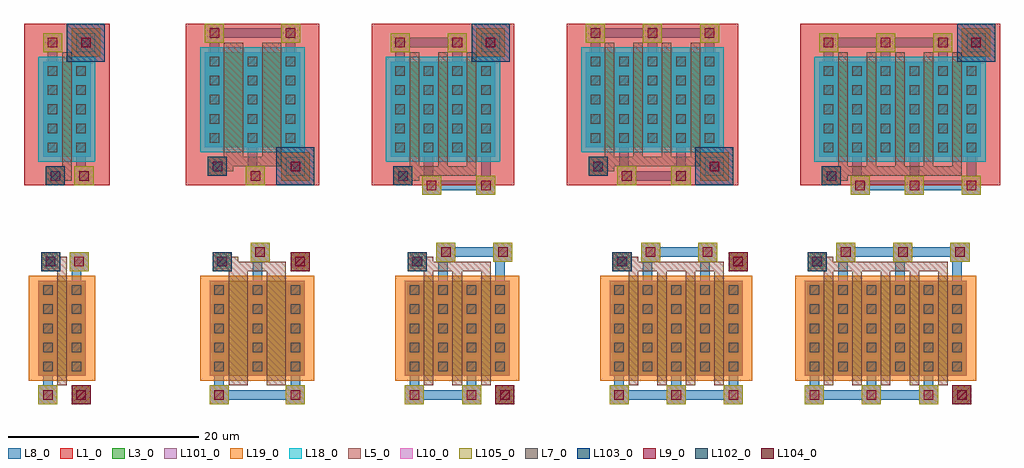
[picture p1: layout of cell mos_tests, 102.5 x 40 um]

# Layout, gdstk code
import gdstk
lib = gdstk.Library(unit=1e-6, precision=1e-09)
def R(c, l, rs):  # rectangles x0, y0, x1, y1
    for r in rs: c.add(gdstk.rectangle(r[:2], r[2:], *l))
L1_0 = (1, 0)
L3_0 = (3, 0)
L5_0 = (5, 0)
L7_0 = (7, 0)
L8_0 = (8, 0)
L9_0 = (9, 0)
L10_0 = (10, 0)
L18_0 = (18, 0)
L19_0 = (19, 0)
L101_0 = (101, 0)
L102_0 = (102, 0)
L103_0 = (103, 0)
L104_0 = (104, 0)
L105_0 = (105, 0)

dcont = lib.new_cell('dcont')
R(dcont, L3_0, [(-0.5,-0.5,0.5,0.5)])
R(dcont, L7_0, [(-0.5,-0.5,0.5,0.5)])
R(dcont, L8_0, [(-1,-1,1,1)])
R(dcont, L101_0, [(-1,-1,1,1)])
dcont.add(gdstk.Label('dcont', (0,0), layer=13, texttype=0))

pcont = lib.new_cell('pcont')
R(pcont, L5_0, [(-1,-1,1,1)])
R(pcont, L7_0, [(-0.5,-0.5,0.5,0.5)])
R(pcont, L8_0, [(-1,-1,1,1)])
R(pcont, L102_0, [(-1,-1,1,1)])
pcont.add(gdstk.Label('pcont', (0,0), layer=13, texttype=0))

via = lib.new_cell('Via')
R(via, L8_0, [(-1,-1,1,1)])
R(via, L9_0, [(-0.5,-0.5,0.5,0.5)])
R(via, L10_0, [(-1,-1,1,1)])
R(via, L105_0, [(-1,-1,1,1)])
via.add(gdstk.Label('via', (0,0), layer=13, texttype=0))

nsubcont = lib.new_cell('nsubcont')
R(nsubcont, L1_0, [(-2,-2,2,2)])
R(nsubcont, L19_0, [(-1.5,-1.5,1.5,1.5)])
R(nsubcont, L103_0, [(-2,-2,2,2)])
nsubcont.add(gdstk.Reference(dcont, (0,0)))
nsubcont.add(gdstk.Label('NScont', (0,0), layer=13, texttype=0))

pch = lib.new_cell('Pch')
R(pch, L1_0, [(-2,0,19,17)])
R(pch, L3_0, [(0,3,17,13)])
R(pch, L18_0, [(-0.5,2.5,17.5,13.5)])
pch.add(gdstk.FlexPath([(1,3),(1,13)], 2, ends="flush", simple_path=True, layer=8, datatype=0))  # L8_0
pch.add(gdstk.FlexPath([(4,3),(4,13)], 2, ends="flush", simple_path=True, layer=8, datatype=0))  # L8_0
pch.add(gdstk.FlexPath([(7,3),(7,13)], 2, ends="flush", simple_path=True, layer=8, datatype=0))  # L8_0
pch.add(gdstk.FlexPath([(10,3),(10,13)], 2, ends="flush", simple_path=True, layer=8, datatype=0))  # L8_0
pch.add(gdstk.FlexPath([(13,3),(13,13)], 2, ends="flush", simple_path=True, layer=8, datatype=0))  # L8_0
pch.add(gdstk.FlexPath([(16,3),(16,13)], 2, ends="flush", simple_path=True, layer=8, datatype=0))  # L8_0
pch.add(gdstk.FlexPath([(1,13),(1,15)], 1, ends="flush", simple_path=True, layer=8, datatype=0))  # L8_0
pch.add(gdstk.FlexPath([(4,0),(4,3)], 1, ends="flush", simple_path=True, layer=8, datatype=0))  # L8_0
pch.add(gdstk.FlexPath([(7,13),(7,15)], 1, ends="flush", simple_path=True, layer=8, datatype=0))  # L8_0
pch.add(gdstk.FlexPath([(1,15),(7,15)], 1, ends="flush", simple_path=True, layer=8, datatype=0))  # L8_0
pch.add(gdstk.FlexPath([(10,0),(10,3)], 1, ends="flush", simple_path=True, layer=8, datatype=0))  # L8_0
pch.add(gdstk.FlexPath([(4,0),(10,0)], 1, ends="flush", simple_path=True, layer=8, datatype=0))  # L8_0
pch.add(gdstk.FlexPath([(13,13),(13,15)], 1, ends="flush", simple_path=True, layer=8, datatype=0))  # L8_0
pch.add(gdstk.FlexPath([(7,15),(13,15)], 1, ends="flush", simple_path=True, layer=8, datatype=0))  # L8_0
pch.add(gdstk.FlexPath([(16,0),(16,3)], 1, ends="flush", simple_path=True, layer=8, datatype=0))  # L8_0
pch.add(gdstk.FlexPath([(10,0),(16,0)], 1, ends="flush", simple_path=True, layer=8, datatype=0))  # L8_0
pch.add(gdstk.FlexPath([(2.5,3),(2.5,13)], 1, ends=(1, 1), simple_path=True, layer=5, datatype=0))  # L5_0
pch.add(gdstk.FlexPath([(5.5,3),(5.5,13)], 1, ends=(1, 1), simple_path=True, layer=5, datatype=0))  # L5_0
pch.add(gdstk.FlexPath([(8.5,3),(8.5,13)], 1, ends=(1, 1), simple_path=True, layer=5, datatype=0))  # L5_0
pch.add(gdstk.FlexPath([(11.5,3),(11.5,13)], 1, ends=(1, 1), simple_path=True, layer=5, datatype=0))  # L5_0
pch.add(gdstk.FlexPath([(14.5,3),(14.5,13)], 1, ends=(1, 1), simple_path=True, layer=5, datatype=0))  # L5_0
pch.add(gdstk.FlexPath([(1,1),(2.5,1),(2.5,2)], 1, ends="flush", simple_path=True, layer=5, datatype=0))  # L5_0
pch.add(gdstk.FlexPath([(2,1.5),(6,1.5)], 1, ends="flush", simple_path=True, layer=5, datatype=0))  # L5_0
pch.add(gdstk.FlexPath([(5,1.5),(9,1.5)], 1, ends="flush", simple_path=True, layer=5, datatype=0))  # L5_0
pch.add(gdstk.FlexPath([(8,1.5),(12,1.5)], 1, ends="flush", simple_path=True, layer=5, datatype=0))  # L5_0
pch.add(gdstk.FlexPath([(11,1.5),(15,1.5)], 1, ends="flush", simple_path=True, layer=5, datatype=0))  # L5_0
pch.add(gdstk.Reference(dcont, (1,4)))
pch.add(gdstk.Reference(dcont, (1,6)))
pch.add(gdstk.Reference(dcont, (1,8)))
pch.add(gdstk.Reference(dcont, (1,10)))
pch.add(gdstk.Reference(dcont, (1,12)))
pch.add(gdstk.Reference(dcont, (4,4)))
pch.add(gdstk.Reference(dcont, (4,6)))
pch.add(gdstk.Reference(dcont, (4,8)))
pch.add(gdstk.Reference(dcont, (4,10)))
pch.add(gdstk.Reference(dcont, (4,12)))
pch.add(gdstk.Reference(dcont, (7,4)))
pch.add(gdstk.Reference(dcont, (7,6)))
pch.add(gdstk.Reference(dcont, (7,8)))
pch.add(gdstk.Reference(dcont, (7,10)))
pch.add(gdstk.Reference(dcont, (7,12)))
pch.add(gdstk.Reference(dcont, (10,4)))
pch.add(gdstk.Reference(dcont, (10,6)))
pch.add(gdstk.Reference(dcont, (10,8)))
pch.add(gdstk.Reference(dcont, (10,10)))
pch.add(gdstk.Reference(dcont, (10,12)))
pch.add(gdstk.Reference(dcont, (13,4)))
pch.add(gdstk.Reference(dcont, (13,6)))
pch.add(gdstk.Reference(dcont, (13,8)))
pch.add(gdstk.Reference(dcont, (13,10)))
pch.add(gdstk.Reference(dcont, (13,12)))
pch.add(gdstk.Reference(dcont, (16,4)))
pch.add(gdstk.Reference(dcont, (16,6)))
pch.add(gdstk.Reference(dcont, (16,8)))
pch.add(gdstk.Reference(dcont, (16,10)))
pch.add(gdstk.Reference(dcont, (16,12)))
pch.add(gdstk.Reference(pcont, (1.3,1)))
pch.add(gdstk.Reference(via, (1.3,1)))
pch.add(gdstk.Reference(via, (1,15)))
pch.add(gdstk.Reference(via, (4.3,0)))
pch.add(gdstk.Reference(via, (7,15)))
pch.add(gdstk.Reference(via, (10,0)))
pch.add(gdstk.Reference(via, (13,15)))
pch.add(gdstk.Reference(via, (16,0)))
pch.add(gdstk.Reference(nsubcont, (16.5,15)))
pch.add(gdstk.Reference(via, (16.5,15)))

psubcont = lib.new_cell('psubcont')
R(psubcont, L104_0, [(-1,-1,1,1)])
psubcont.add(gdstk.Reference(dcont, (0,0)))
psubcont.add(gdstk.Label('PScon', (0,0), layer=13, texttype=0))

nch_3 = lib.new_cell('Nch$3')
R(nch_3, L3_0, [(0,3,17,13)])
R(nch_3, L19_0, [(-1,2.5,18,13.5)])
nch_3.add(gdstk.FlexPath([(1,3),(1,13)], 2, ends="flush", simple_path=True, layer=8, datatype=0))  # L8_0
nch_3.add(gdstk.FlexPath([(4,3),(4,13)], 2, ends="flush", simple_path=True, layer=8, datatype=0))  # L8_0
nch_3.add(gdstk.FlexPath([(7,3),(7,13)], 2, ends="flush", simple_path=True, layer=8, datatype=0))  # L8_0
nch_3.add(gdstk.FlexPath([(10,3),(10,13)], 2, ends="flush", simple_path=True, layer=8, datatype=0))  # L8_0
nch_3.add(gdstk.FlexPath([(13,3),(13,13)], 2, ends="flush", simple_path=True, layer=8, datatype=0))  # L8_0
nch_3.add(gdstk.FlexPath([(16,3),(16,13)], 2, ends="flush", simple_path=True, layer=8, datatype=0))  # L8_0
nch_3.add(gdstk.FlexPath([(1,1),(1,4)], 1, ends="flush", simple_path=True, layer=8, datatype=0))  # L8_0
nch_3.add(gdstk.FlexPath([(4,13),(4,16)], 1, ends="flush", simple_path=True, layer=8, datatype=0))  # L8_0
nch_3.add(gdstk.FlexPath([(7,1),(7,4)], 1, ends="flush", simple_path=True, layer=8, datatype=0))  # L8_0
nch_3.add(gdstk.FlexPath([(1,1),(7,1)], 1, ends="flush", simple_path=True, layer=8, datatype=0))  # L8_0
nch_3.add(gdstk.FlexPath([(10,13),(10,16)], 1, ends="flush", simple_path=True, layer=8, datatype=0))  # L8_0
nch_3.add(gdstk.FlexPath([(4,16),(10,16)], 1, ends="flush", simple_path=True, layer=8, datatype=0))  # L8_0
nch_3.add(gdstk.FlexPath([(13,1),(13,4)], 1, ends="flush", simple_path=True, layer=8, datatype=0))  # L8_0
nch_3.add(gdstk.FlexPath([(7,1),(13,1)], 1, ends="flush", simple_path=True, layer=8, datatype=0))  # L8_0
nch_3.add(gdstk.FlexPath([(16,13),(16,16)], 1, ends="flush", simple_path=True, layer=8, datatype=0))  # L8_0
nch_3.add(gdstk.FlexPath([(10,16),(16,16)], 1, ends="flush", simple_path=True, layer=8, datatype=0))  # L8_0
nch_3.add(gdstk.FlexPath([(2.5,3),(2.5,13)], 1, ends=(1, 1), simple_path=True, layer=5, datatype=0))  # L5_0
nch_3.add(gdstk.FlexPath([(5.5,3),(5.5,13)], 1, ends=(1, 1), simple_path=True, layer=5, datatype=0))  # L5_0
nch_3.add(gdstk.FlexPath([(8.5,3),(8.5,13)], 1, ends=(1, 1), simple_path=True, layer=5, datatype=0))  # L5_0
nch_3.add(gdstk.FlexPath([(11.5,3),(11.5,13)], 1, ends=(1, 1), simple_path=True, layer=5, datatype=0))  # L5_0
nch_3.add(gdstk.FlexPath([(14.5,3),(14.5,13)], 1, ends=(1, 1), simple_path=True, layer=5, datatype=0))  # L5_0
nch_3.add(gdstk.FlexPath([(1,15),(2.5,15),(2.5,14)], 1, ends="flush", simple_path=True, layer=5, datatype=0))  # L5_0
nch_3.add(gdstk.FlexPath([(2,14.5),(6,14.5)], 1, ends="flush", simple_path=True, layer=5, datatype=0))  # L5_0
nch_3.add(gdstk.FlexPath([(5,14.5),(9,14.5)], 1, ends="flush", simple_path=True, layer=5, datatype=0))  # L5_0
nch_3.add(gdstk.FlexPath([(8,14.5),(12,14.5)], 1, ends="flush", simple_path=True, layer=5, datatype=0))  # L5_0
nch_3.add(gdstk.FlexPath([(11,14.5),(15,14.5)], 1, ends="flush", simple_path=True, layer=5, datatype=0))  # L5_0
nch_3.add(gdstk.Reference(dcont, (1,4)))
nch_3.add(gdstk.Reference(dcont, (1,6)))
nch_3.add(gdstk.Reference(dcont, (1,8)))
nch_3.add(gdstk.Reference(dcont, (1,10)))
nch_3.add(gdstk.Reference(dcont, (1,12)))
nch_3.add(gdstk.Reference(dcont, (4,4)))
nch_3.add(gdstk.Reference(dcont, (4,6)))
nch_3.add(gdstk.Reference(dcont, (4,8)))
nch_3.add(gdstk.Reference(dcont, (4,10)))
nch_3.add(gdstk.Reference(dcont, (4,12)))
nch_3.add(gdstk.Reference(dcont, (7,4)))
nch_3.add(gdstk.Reference(dcont, (7,6)))
nch_3.add(gdstk.Reference(dcont, (7,8)))
nch_3.add(gdstk.Reference(dcont, (7,10)))
nch_3.add(gdstk.Reference(dcont, (7,12)))
nch_3.add(gdstk.Reference(dcont, (10,4)))
nch_3.add(gdstk.Reference(dcont, (10,6)))
nch_3.add(gdstk.Reference(dcont, (10,8)))
nch_3.add(gdstk.Reference(dcont, (10,10)))
nch_3.add(gdstk.Reference(dcont, (10,12)))
nch_3.add(gdstk.Reference(dcont, (13,4)))
nch_3.add(gdstk.Reference(dcont, (13,6)))
nch_3.add(gdstk.Reference(dcont, (13,8)))
nch_3.add(gdstk.Reference(dcont, (13,10)))
nch_3.add(gdstk.Reference(dcont, (13,12)))
nch_3.add(gdstk.Reference(dcont, (16,4)))
nch_3.add(gdstk.Reference(dcont, (16,6)))
nch_3.add(gdstk.Reference(dcont, (16,8)))
nch_3.add(gdstk.Reference(dcont, (16,10)))
nch_3.add(gdstk.Reference(dcont, (16,12)))
nch_3.add(gdstk.Reference(pcont, (1.3,15)))
nch_3.add(gdstk.Reference(via, (1.3,15)))
nch_3.add(gdstk.Reference(via, (1,1)))
nch_3.add(gdstk.Reference(via, (4.3,16)))
nch_3.add(gdstk.Reference(via, (7,1)))
nch_3.add(gdstk.Reference(via, (10.3,16)))
nch_3.add(gdstk.Reference(via, (13,1)))
nch_3.add(gdstk.Reference(via, (16.3,16)))
nch_3.add(gdstk.Reference(psubcont, (16.5,1)))
nch_3.add(gdstk.Reference(via, (16.5,1)))

nch_4 = lib.new_cell('Nch$4')
R(nch_4, L3_0, [(0,3,14,13)])
R(nch_4, L19_0, [(-1,2.5,15,13.5)])
nch_4.add(gdstk.FlexPath([(1,3),(1,13)], 2, ends="flush", simple_path=True, layer=8, datatype=0))  # L8_0
nch_4.add(gdstk.FlexPath([(4,3),(4,13)], 2, ends="flush", simple_path=True, layer=8, datatype=0))  # L8_0
nch_4.add(gdstk.FlexPath([(7,3),(7,13)], 2, ends="flush", simple_path=True, layer=8, datatype=0))  # L8_0
nch_4.add(gdstk.FlexPath([(10,3),(10,13)], 2, ends="flush", simple_path=True, layer=8, datatype=0))  # L8_0
nch_4.add(gdstk.FlexPath([(13,3),(13,13)], 2, ends="flush", simple_path=True, layer=8, datatype=0))  # L8_0
nch_4.add(gdstk.FlexPath([(1,1),(1,4)], 1, ends="flush", simple_path=True, layer=8, datatype=0))  # L8_0
nch_4.add(gdstk.FlexPath([(4,13),(4,16)], 1, ends="flush", simple_path=True, layer=8, datatype=0))  # L8_0
nch_4.add(gdstk.FlexPath([(7,1),(7,4)], 1, ends="flush", simple_path=True, layer=8, datatype=0))  # L8_0
nch_4.add(gdstk.FlexPath([(1,1),(7,1)], 1, ends="flush", simple_path=True, layer=8, datatype=0))  # L8_0
nch_4.add(gdstk.FlexPath([(10,13),(10,16)], 1, ends="flush", simple_path=True, layer=8, datatype=0))  # L8_0
nch_4.add(gdstk.FlexPath([(4,16),(10,16)], 1, ends="flush", simple_path=True, layer=8, datatype=0))  # L8_0
nch_4.add(gdstk.FlexPath([(13,1),(13,4)], 1, ends="flush", simple_path=True, layer=8, datatype=0))  # L8_0
nch_4.add(gdstk.FlexPath([(7,1),(13,1)], 1, ends="flush", simple_path=True, layer=8, datatype=0))  # L8_0
nch_4.add(gdstk.FlexPath([(2.5,3),(2.5,13)], 1, ends=(1, 1), simple_path=True, layer=5, datatype=0))  # L5_0
nch_4.add(gdstk.FlexPath([(5.5,3),(5.5,13)], 1, ends=(1, 1), simple_path=True, layer=5, datatype=0))  # L5_0
nch_4.add(gdstk.FlexPath([(8.5,3),(8.5,13)], 1, ends=(1, 1), simple_path=True, layer=5, datatype=0))  # L5_0
nch_4.add(gdstk.FlexPath([(11.5,3),(11.5,13)], 1, ends=(1, 1), simple_path=True, layer=5, datatype=0))  # L5_0
nch_4.add(gdstk.FlexPath([(1,15),(2.5,15),(2.5,14)], 1, ends="flush", simple_path=True, layer=5, datatype=0))  # L5_0
nch_4.add(gdstk.FlexPath([(2,14.5),(6,14.5)], 1, ends="flush", simple_path=True, layer=5, datatype=0))  # L5_0
nch_4.add(gdstk.FlexPath([(5,14.5),(9,14.5)], 1, ends="flush", simple_path=True, layer=5, datatype=0))  # L5_0
nch_4.add(gdstk.FlexPath([(8,14.5),(12,14.5)], 1, ends="flush", simple_path=True, layer=5, datatype=0))  # L5_0
nch_4.add(gdstk.Reference(dcont, (1,4)))
nch_4.add(gdstk.Reference(dcont, (1,6)))
nch_4.add(gdstk.Reference(dcont, (1,8)))
nch_4.add(gdstk.Reference(dcont, (1,10)))
nch_4.add(gdstk.Reference(dcont, (1,12)))
nch_4.add(gdstk.Reference(dcont, (4,4)))
nch_4.add(gdstk.Reference(dcont, (4,6)))
nch_4.add(gdstk.Reference(dcont, (4,8)))
nch_4.add(gdstk.Reference(dcont, (4,10)))
nch_4.add(gdstk.Reference(dcont, (4,12)))
nch_4.add(gdstk.Reference(dcont, (7,4)))
nch_4.add(gdstk.Reference(dcont, (7,6)))
nch_4.add(gdstk.Reference(dcont, (7,8)))
nch_4.add(gdstk.Reference(dcont, (7,10)))
nch_4.add(gdstk.Reference(dcont, (7,12)))
nch_4.add(gdstk.Reference(dcont, (10,4)))
nch_4.add(gdstk.Reference(dcont, (10,6)))
nch_4.add(gdstk.Reference(dcont, (10,8)))
nch_4.add(gdstk.Reference(dcont, (10,10)))
nch_4.add(gdstk.Reference(dcont, (10,12)))
nch_4.add(gdstk.Reference(dcont, (13,4)))
nch_4.add(gdstk.Reference(dcont, (13,6)))
nch_4.add(gdstk.Reference(dcont, (13,8)))
nch_4.add(gdstk.Reference(dcont, (13,10)))
nch_4.add(gdstk.Reference(dcont, (13,12)))
nch_4.add(gdstk.Reference(pcont, (1.3,15)))
nch_4.add(gdstk.Reference(via, (1.3,15)))
nch_4.add(gdstk.Reference(via, (1,1)))
nch_4.add(gdstk.Reference(via, (4.3,16)))
nch_4.add(gdstk.Reference(via, (7,1)))
nch_4.add(gdstk.Reference(via, (10.3,16)))
nch_4.add(gdstk.Reference(via, (13,1)))
nch_4.add(gdstk.Reference(psubcont, (13.5,15)))
nch_4.add(gdstk.Reference(via, (13.5,15)))

nch_5 = lib.new_cell('Nch$5')
R(nch_5, L3_0, [(0,3,11,13)])
R(nch_5, L19_0, [(-1,2.5,12,13.5)])
nch_5.add(gdstk.FlexPath([(1,3),(1,13)], 2, ends="flush", simple_path=True, layer=8, datatype=0))  # L8_0
nch_5.add(gdstk.FlexPath([(4,3),(4,13)], 2, ends="flush", simple_path=True, layer=8, datatype=0))  # L8_0
nch_5.add(gdstk.FlexPath([(7,3),(7,13)], 2, ends="flush", simple_path=True, layer=8, datatype=0))  # L8_0
nch_5.add(gdstk.FlexPath([(10,3),(10,13)], 2, ends="flush", simple_path=True, layer=8, datatype=0))  # L8_0
nch_5.add(gdstk.FlexPath([(1,1),(1,4)], 1, ends="flush", simple_path=True, layer=8, datatype=0))  # L8_0
nch_5.add(gdstk.FlexPath([(4,13),(4,16)], 1, ends="flush", simple_path=True, layer=8, datatype=0))  # L8_0
nch_5.add(gdstk.FlexPath([(7,1),(7,4)], 1, ends="flush", simple_path=True, layer=8, datatype=0))  # L8_0
nch_5.add(gdstk.FlexPath([(1,1),(7,1)], 1, ends="flush", simple_path=True, layer=8, datatype=0))  # L8_0
nch_5.add(gdstk.FlexPath([(10,13),(10,16)], 1, ends="flush", simple_path=True, layer=8, datatype=0))  # L8_0
nch_5.add(gdstk.FlexPath([(4,16),(10,16)], 1, ends="flush", simple_path=True, layer=8, datatype=0))  # L8_0
nch_5.add(gdstk.FlexPath([(2.5,3),(2.5,13)], 1, ends=(1, 1), simple_path=True, layer=5, datatype=0))  # L5_0
nch_5.add(gdstk.FlexPath([(5.5,3),(5.5,13)], 1, ends=(1, 1), simple_path=True, layer=5, datatype=0))  # L5_0
nch_5.add(gdstk.FlexPath([(8.5,3),(8.5,13)], 1, ends=(1, 1), simple_path=True, layer=5, datatype=0))  # L5_0
nch_5.add(gdstk.FlexPath([(1,15),(2.5,15),(2.5,14)], 1, ends="flush", simple_path=True, layer=5, datatype=0))  # L5_0
nch_5.add(gdstk.FlexPath([(2,14.5),(6,14.5)], 1, ends="flush", simple_path=True, layer=5, datatype=0))  # L5_0
nch_5.add(gdstk.FlexPath([(5,14.5),(9,14.5)], 1, ends="flush", simple_path=True, layer=5, datatype=0))  # L5_0
nch_5.add(gdstk.Reference(dcont, (1,4)))
nch_5.add(gdstk.Reference(dcont, (1,6)))
nch_5.add(gdstk.Reference(dcont, (1,8)))
nch_5.add(gdstk.Reference(dcont, (1,10)))
nch_5.add(gdstk.Reference(dcont, (1,12)))
nch_5.add(gdstk.Reference(dcont, (4,4)))
nch_5.add(gdstk.Reference(dcont, (4,6)))
nch_5.add(gdstk.Reference(dcont, (4,8)))
nch_5.add(gdstk.Reference(dcont, (4,10)))
nch_5.add(gdstk.Reference(dcont, (4,12)))
nch_5.add(gdstk.Reference(dcont, (7,4)))
nch_5.add(gdstk.Reference(dcont, (7,6)))
nch_5.add(gdstk.Reference(dcont, (7,8)))
nch_5.add(gdstk.Reference(dcont, (7,10)))
nch_5.add(gdstk.Reference(dcont, (7,12)))
nch_5.add(gdstk.Reference(dcont, (10,4)))
nch_5.add(gdstk.Reference(dcont, (10,6)))
nch_5.add(gdstk.Reference(dcont, (10,8)))
nch_5.add(gdstk.Reference(dcont, (10,10)))
nch_5.add(gdstk.Reference(dcont, (10,12)))
nch_5.add(gdstk.Reference(pcont, (1.3,15)))
nch_5.add(gdstk.Reference(via, (1.3,15)))
nch_5.add(gdstk.Reference(via, (1,1)))
nch_5.add(gdstk.Reference(via, (4.3,16)))
nch_5.add(gdstk.Reference(via, (7,1)))
nch_5.add(gdstk.Reference(via, (10.3,16)))
nch_5.add(gdstk.Reference(psubcont, (10.5,1)))
nch_5.add(gdstk.Reference(via, (10.5,1)))

nch_6 = lib.new_cell('Nch$6')
R(nch_6, L3_0, [(0,3,10,13)])
R(nch_6, L19_0, [(-1,2.5,11,13.5)])
nch_6.add(gdstk.FlexPath([(1,3),(1,13)], 2, ends="flush", simple_path=True, layer=8, datatype=0))  # L8_0
nch_6.add(gdstk.FlexPath([(5,3),(5,13)], 2, ends="flush", simple_path=True, layer=8, datatype=0))  # L8_0
nch_6.add(gdstk.FlexPath([(9,3),(9,13)], 2, ends="flush", simple_path=True, layer=8, datatype=0))  # L8_0
nch_6.add(gdstk.FlexPath([(1,1),(1,4)], 1, ends="flush", simple_path=True, layer=8, datatype=0))  # L8_0
nch_6.add(gdstk.FlexPath([(5,13),(5,16)], 1, ends="flush", simple_path=True, layer=8, datatype=0))  # L8_0
nch_6.add(gdstk.FlexPath([(9,1),(9,4)], 1, ends="flush", simple_path=True, layer=8, datatype=0))  # L8_0
nch_6.add(gdstk.FlexPath([(1,1),(9,1)], 1, ends="flush", simple_path=True, layer=8, datatype=0))  # L8_0
nch_6.add(gdstk.FlexPath([(3,3),(3,13)], 2, ends="extended", simple_path=True, layer=5, datatype=0))  # L5_0
nch_6.add(gdstk.FlexPath([(7,3),(7,13)], 2, ends="extended", simple_path=True, layer=5, datatype=0))  # L5_0
nch_6.add(gdstk.FlexPath([(1,15),(2.5,15),(2.5,14)], 1, ends="flush", simple_path=True, layer=5, datatype=0))  # L5_0
nch_6.add(gdstk.FlexPath([(2,14.5),(8,14.5)], 1, ends="flush", simple_path=True, layer=5, datatype=0))  # L5_0
nch_6.add(gdstk.Reference(dcont, (1,4)))
nch_6.add(gdstk.Reference(dcont, (1,6)))
nch_6.add(gdstk.Reference(dcont, (1,8)))
nch_6.add(gdstk.Reference(dcont, (1,10)))
nch_6.add(gdstk.Reference(dcont, (1,12)))
nch_6.add(gdstk.Reference(dcont, (5,4)))
nch_6.add(gdstk.Reference(dcont, (5,6)))
nch_6.add(gdstk.Reference(dcont, (5,8)))
nch_6.add(gdstk.Reference(dcont, (5,10)))
nch_6.add(gdstk.Reference(dcont, (5,12)))
nch_6.add(gdstk.Reference(dcont, (9,4)))
nch_6.add(gdstk.Reference(dcont, (9,6)))
nch_6.add(gdstk.Reference(dcont, (9,8)))
nch_6.add(gdstk.Reference(dcont, (9,10)))
nch_6.add(gdstk.Reference(dcont, (9,12)))
nch_6.add(gdstk.Reference(pcont, (1.3,15)))
nch_6.add(gdstk.Reference(via, (1.3,15)))
nch_6.add(gdstk.Reference(via, (1,1)))
nch_6.add(gdstk.Reference(via, (5.3,16)))
nch_6.add(gdstk.Reference(via, (9,1)))
nch_6.add(gdstk.Reference(psubcont, (9.5,15)))
nch_6.add(gdstk.Reference(via, (9.5,15)))

nch_7 = lib.new_cell('Nch$7')
R(nch_7, L3_0, [(0,3,5,13)])
R(nch_7, L19_0, [(-1,2.5,6,13.5)])
nch_7.add(gdstk.FlexPath([(1,3),(1,13)], 2, ends="flush", simple_path=True, layer=8, datatype=0))  # L8_0
nch_7.add(gdstk.FlexPath([(4,3),(4,13)], 2, ends="flush", simple_path=True, layer=8, datatype=0))  # L8_0
nch_7.add(gdstk.FlexPath([(1,1),(1,4)], 1, ends="flush", simple_path=True, layer=8, datatype=0))  # L8_0
nch_7.add(gdstk.FlexPath([(4,13),(4,16)], 1, ends="flush", simple_path=True, layer=8, datatype=0))  # L8_0
nch_7.add(gdstk.FlexPath([(2.5,3),(2.5,13)], 1, ends=(1, 1), simple_path=True, layer=5, datatype=0))  # L5_0
nch_7.add(gdstk.FlexPath([(1,15),(2.5,15),(2.5,14)], 1, ends="flush", simple_path=True, layer=5, datatype=0))  # L5_0
nch_7.add(gdstk.Reference(dcont, (1,4)))
nch_7.add(gdstk.Reference(dcont, (1,6)))
nch_7.add(gdstk.Reference(dcont, (1,8)))
nch_7.add(gdstk.Reference(dcont, (1,10)))
nch_7.add(gdstk.Reference(dcont, (1,12)))
nch_7.add(gdstk.Reference(dcont, (4,4)))
nch_7.add(gdstk.Reference(dcont, (4,6)))
nch_7.add(gdstk.Reference(dcont, (4,8)))
nch_7.add(gdstk.Reference(dcont, (4,10)))
nch_7.add(gdstk.Reference(dcont, (4,12)))
nch_7.add(gdstk.Reference(pcont, (1.3,15)))
nch_7.add(gdstk.Reference(via, (1.3,15)))
nch_7.add(gdstk.Reference(via, (1,1)))
nch_7.add(gdstk.Reference(via, (4.3,15)))
nch_7.add(gdstk.Reference(psubcont, (4.5,1)))
nch_7.add(gdstk.Reference(via, (4.5,1)))

pch_3 = lib.new_cell('Pch$3')
R(pch_3, L1_0, [(-2,-1,16,16)])
R(pch_3, L3_0, [(0,3,14,13)])
R(pch_3, L18_0, [(-0.5,2.5,14.5,13.5)])
pch_3.add(gdstk.FlexPath([(1,3),(1,13)], 2, ends="flush", simple_path=True, layer=8, datatype=0))  # L8_0
pch_3.add(gdstk.FlexPath([(4,3),(4,13)], 2, ends="flush", simple_path=True, layer=8, datatype=0))  # L8_0
pch_3.add(gdstk.FlexPath([(7,3),(7,13)], 2, ends="flush", simple_path=True, layer=8, datatype=0))  # L8_0
pch_3.add(gdstk.FlexPath([(10,3),(10,13)], 2, ends="flush", simple_path=True, layer=8, datatype=0))  # L8_0
pch_3.add(gdstk.FlexPath([(13,3),(13,13)], 2, ends="flush", simple_path=True, layer=8, datatype=0))  # L8_0
pch_3.add(gdstk.FlexPath([(1,13),(1,15)], 1, ends="flush", simple_path=True, layer=8, datatype=0))  # L8_0
pch_3.add(gdstk.FlexPath([(4,0),(4,3)], 1, ends="flush", simple_path=True, layer=8, datatype=0))  # L8_0
pch_3.add(gdstk.FlexPath([(7,13),(7,15)], 1, ends="flush", simple_path=True, layer=8, datatype=0))  # L8_0
pch_3.add(gdstk.FlexPath([(1,15),(7,15)], 1, ends="flush", simple_path=True, layer=8, datatype=0))  # L8_0
pch_3.add(gdstk.FlexPath([(10,0),(10,3)], 1, ends="flush", simple_path=True, layer=8, datatype=0))  # L8_0
pch_3.add(gdstk.FlexPath([(4,0),(10,0)], 1, ends="flush", simple_path=True, layer=8, datatype=0))  # L8_0
pch_3.add(gdstk.FlexPath([(13,13),(13,15)], 1, ends="flush", simple_path=True, layer=8, datatype=0))  # L8_0
pch_3.add(gdstk.FlexPath([(7,15),(13,15)], 1, ends="flush", simple_path=True, layer=8, datatype=0))  # L8_0
pch_3.add(gdstk.FlexPath([(2.5,3),(2.5,13)], 1, ends=(1, 1), simple_path=True, layer=5, datatype=0))  # L5_0
pch_3.add(gdstk.FlexPath([(5.5,3),(5.5,13)], 1, ends=(1, 1), simple_path=True, layer=5, datatype=0))  # L5_0
pch_3.add(gdstk.FlexPath([(8.5,3),(8.5,13)], 1, ends=(1, 1), simple_path=True, layer=5, datatype=0))  # L5_0
pch_3.add(gdstk.FlexPath([(11.5,3),(11.5,13)], 1, ends=(1, 1), simple_path=True, layer=5, datatype=0))  # L5_0
pch_3.add(gdstk.FlexPath([(1,1),(2.5,1),(2.5,2)], 1, ends="flush", simple_path=True, layer=5, datatype=0))  # L5_0
pch_3.add(gdstk.FlexPath([(2,1.5),(6,1.5)], 1, ends="flush", simple_path=True, layer=5, datatype=0))  # L5_0
pch_3.add(gdstk.FlexPath([(5,1.5),(9,1.5)], 1, ends="flush", simple_path=True, layer=5, datatype=0))  # L5_0
pch_3.add(gdstk.FlexPath([(8,1.5),(12,1.5)], 1, ends="flush", simple_path=True, layer=5, datatype=0))  # L5_0
pch_3.add(gdstk.Reference(dcont, (1,4)))
pch_3.add(gdstk.Reference(dcont, (1,6)))
pch_3.add(gdstk.Reference(dcont, (1,8)))
pch_3.add(gdstk.Reference(dcont, (1,10)))
pch_3.add(gdstk.Reference(dcont, (1,12)))
pch_3.add(gdstk.Reference(dcont, (4,4)))
pch_3.add(gdstk.Reference(dcont, (4,6)))
pch_3.add(gdstk.Reference(dcont, (4,8)))
pch_3.add(gdstk.Reference(dcont, (4,10)))
pch_3.add(gdstk.Reference(dcont, (4,12)))
pch_3.add(gdstk.Reference(dcont, (7,4)))
pch_3.add(gdstk.Reference(dcont, (7,6)))
pch_3.add(gdstk.Reference(dcont, (7,8)))
pch_3.add(gdstk.Reference(dcont, (7,10)))
pch_3.add(gdstk.Reference(dcont, (7,12)))
pch_3.add(gdstk.Reference(dcont, (10,4)))
pch_3.add(gdstk.Reference(dcont, (10,6)))
pch_3.add(gdstk.Reference(dcont, (10,8)))
pch_3.add(gdstk.Reference(dcont, (10,10)))
pch_3.add(gdstk.Reference(dcont, (10,12)))
pch_3.add(gdstk.Reference(dcont, (13,4)))
pch_3.add(gdstk.Reference(dcont, (13,6)))
pch_3.add(gdstk.Reference(dcont, (13,8)))
pch_3.add(gdstk.Reference(dcont, (13,10)))
pch_3.add(gdstk.Reference(dcont, (13,12)))
pch_3.add(gdstk.Reference(pcont, (1.3,1)))
pch_3.add(gdstk.Reference(via, (1.3,1)))
pch_3.add(gdstk.Reference(via, (1,15)))
pch_3.add(gdstk.Reference(via, (4.3,0)))
pch_3.add(gdstk.Reference(via, (7,15)))
pch_3.add(gdstk.Reference(via, (10,0)))
pch_3.add(gdstk.Reference(via, (13,15)))
pch_3.add(gdstk.Reference(nsubcont, (13.5,1)))
pch_3.add(gdstk.Reference(via, (13.5,1)))

pch_4 = lib.new_cell('Pch$4')
R(pch_4, L1_0, [(-2,0,13,17)])
R(pch_4, L3_0, [(0,3,11,13)])
R(pch_4, L18_0, [(-0.5,2.5,11.5,13.5)])
pch_4.add(gdstk.FlexPath([(1,3),(1,13)], 2, ends="flush", simple_path=True, layer=8, datatype=0))  # L8_0
pch_4.add(gdstk.FlexPath([(4,3),(4,13)], 2, ends="flush", simple_path=True, layer=8, datatype=0))  # L8_0
pch_4.add(gdstk.FlexPath([(7,3),(7,13)], 2, ends="flush", simple_path=True, layer=8, datatype=0))  # L8_0
pch_4.add(gdstk.FlexPath([(10,3),(10,13)], 2, ends="flush", simple_path=True, layer=8, datatype=0))  # L8_0
pch_4.add(gdstk.FlexPath([(1,13),(1,15)], 1, ends="flush", simple_path=True, layer=8, datatype=0))  # L8_0
pch_4.add(gdstk.FlexPath([(4,0),(4,3)], 1, ends="flush", simple_path=True, layer=8, datatype=0))  # L8_0
pch_4.add(gdstk.FlexPath([(7,13),(7,15)], 1, ends="flush", simple_path=True, layer=8, datatype=0))  # L8_0
pch_4.add(gdstk.FlexPath([(1,15),(7,15)], 1, ends="flush", simple_path=True, layer=8, datatype=0))  # L8_0
pch_4.add(gdstk.FlexPath([(10,0),(10,3)], 1, ends="flush", simple_path=True, layer=8, datatype=0))  # L8_0
pch_4.add(gdstk.FlexPath([(4,0),(10,0)], 1, ends="flush", simple_path=True, layer=8, datatype=0))  # L8_0
pch_4.add(gdstk.FlexPath([(2.5,3),(2.5,13)], 1, ends=(1, 1), simple_path=True, layer=5, datatype=0))  # L5_0
pch_4.add(gdstk.FlexPath([(5.5,3),(5.5,13)], 1, ends=(1, 1), simple_path=True, layer=5, datatype=0))  # L5_0
pch_4.add(gdstk.FlexPath([(8.5,3),(8.5,13)], 1, ends=(1, 1), simple_path=True, layer=5, datatype=0))  # L5_0
pch_4.add(gdstk.FlexPath([(1,1),(2.5,1),(2.5,2)], 1, ends="flush", simple_path=True, layer=5, datatype=0))  # L5_0
pch_4.add(gdstk.FlexPath([(2,1.5),(6,1.5)], 1, ends="flush", simple_path=True, layer=5, datatype=0))  # L5_0
pch_4.add(gdstk.FlexPath([(5,1.5),(9,1.5)], 1, ends="flush", simple_path=True, layer=5, datatype=0))  # L5_0
pch_4.add(gdstk.Reference(dcont, (1,4)))
pch_4.add(gdstk.Reference(dcont, (1,6)))
pch_4.add(gdstk.Reference(dcont, (1,8)))
pch_4.add(gdstk.Reference(dcont, (1,10)))
pch_4.add(gdstk.Reference(dcont, (1,12)))
pch_4.add(gdstk.Reference(dcont, (4,4)))
pch_4.add(gdstk.Reference(dcont, (4,6)))
pch_4.add(gdstk.Reference(dcont, (4,8)))
pch_4.add(gdstk.Reference(dcont, (4,10)))
pch_4.add(gdstk.Reference(dcont, (4,12)))
pch_4.add(gdstk.Reference(dcont, (7,4)))
pch_4.add(gdstk.Reference(dcont, (7,6)))
pch_4.add(gdstk.Reference(dcont, (7,8)))
pch_4.add(gdstk.Reference(dcont, (7,10)))
pch_4.add(gdstk.Reference(dcont, (7,12)))
pch_4.add(gdstk.Reference(dcont, (10,4)))
pch_4.add(gdstk.Reference(dcont, (10,6)))
pch_4.add(gdstk.Reference(dcont, (10,8)))
pch_4.add(gdstk.Reference(dcont, (10,10)))
pch_4.add(gdstk.Reference(dcont, (10,12)))
pch_4.add(gdstk.Reference(pcont, (1.3,1)))
pch_4.add(gdstk.Reference(via, (1.3,1)))
pch_4.add(gdstk.Reference(via, (1,15)))
pch_4.add(gdstk.Reference(via, (4.3,0)))
pch_4.add(gdstk.Reference(via, (7,15)))
pch_4.add(gdstk.Reference(via, (10,0)))
pch_4.add(gdstk.Reference(nsubcont, (10.5,15)))
pch_4.add(gdstk.Reference(via, (10.5,15)))

pch_5 = lib.new_cell('Pch$5')
R(pch_5, L1_0, [(-2,-1,12,16)])
R(pch_5, L3_0, [(0,3,10,13)])
R(pch_5, L18_0, [(-0.5,2.5,10.5,13.5)])
pch_5.add(gdstk.FlexPath([(1,3),(1,13)], 2, ends="flush", simple_path=True, layer=8, datatype=0))  # L8_0
pch_5.add(gdstk.FlexPath([(5,3),(5,13)], 2, ends="flush", simple_path=True, layer=8, datatype=0))  # L8_0
pch_5.add(gdstk.FlexPath([(9,3),(9,13)], 2, ends="flush", simple_path=True, layer=8, datatype=0))  # L8_0
pch_5.add(gdstk.FlexPath([(1,13),(1,15)], 1, ends="flush", simple_path=True, layer=8, datatype=0))  # L8_0
pch_5.add(gdstk.FlexPath([(5,0),(5,3)], 1, ends="flush", simple_path=True, layer=8, datatype=0))  # L8_0
pch_5.add(gdstk.FlexPath([(9,13),(9,15)], 1, ends="flush", simple_path=True, layer=8, datatype=0))  # L8_0
pch_5.add(gdstk.FlexPath([(1,15),(9,15)], 1, ends="flush", simple_path=True, layer=8, datatype=0))  # L8_0
pch_5.add(gdstk.FlexPath([(3,3),(3,13)], 2, ends="extended", simple_path=True, layer=5, datatype=0))  # L5_0
pch_5.add(gdstk.FlexPath([(7,3),(7,13)], 2, ends="extended", simple_path=True, layer=5, datatype=0))  # L5_0
pch_5.add(gdstk.FlexPath([(1,1),(2.5,1),(2.5,2)], 1, ends="flush", simple_path=True, layer=5, datatype=0))  # L5_0
pch_5.add(gdstk.FlexPath([(2,1.5),(8,1.5)], 1, ends="flush", simple_path=True, layer=5, datatype=0))  # L5_0
pch_5.add(gdstk.Reference(dcont, (1,4)))
pch_5.add(gdstk.Reference(dcont, (1,6)))
pch_5.add(gdstk.Reference(dcont, (1,8)))
pch_5.add(gdstk.Reference(dcont, (1,10)))
pch_5.add(gdstk.Reference(dcont, (1,12)))
pch_5.add(gdstk.Reference(dcont, (5,4)))
pch_5.add(gdstk.Reference(dcont, (5,6)))
pch_5.add(gdstk.Reference(dcont, (5,8)))
pch_5.add(gdstk.Reference(dcont, (5,10)))
pch_5.add(gdstk.Reference(dcont, (5,12)))
pch_5.add(gdstk.Reference(dcont, (9,4)))
pch_5.add(gdstk.Reference(dcont, (9,6)))
pch_5.add(gdstk.Reference(dcont, (9,8)))
pch_5.add(gdstk.Reference(dcont, (9,10)))
pch_5.add(gdstk.Reference(dcont, (9,12)))
pch_5.add(gdstk.Reference(pcont, (1.3,1)))
pch_5.add(gdstk.Reference(via, (1.3,1)))
pch_5.add(gdstk.Reference(via, (1,15)))
pch_5.add(gdstk.Reference(via, (5.3,0)))
pch_5.add(gdstk.Reference(via, (9,15)))
pch_5.add(gdstk.Reference(nsubcont, (9.5,1)))
pch_5.add(gdstk.Reference(via, (9.5,1)))

pch_6 = lib.new_cell('Pch$6')
R(pch_6, L1_0, [(-2,0,7,17)])
R(pch_6, L3_0, [(0,3,5,13)])
R(pch_6, L18_0, [(-0.5,2.5,5.5,13.5)])
pch_6.add(gdstk.FlexPath([(1,3),(1,13)], 2, ends="flush", simple_path=True, layer=8, datatype=0))  # L8_0
pch_6.add(gdstk.FlexPath([(4,3),(4,13)], 2, ends="flush", simple_path=True, layer=8, datatype=0))  # L8_0
pch_6.add(gdstk.FlexPath([(1,13),(1,15)], 1, ends="flush", simple_path=True, layer=8, datatype=0))  # L8_0
pch_6.add(gdstk.FlexPath([(4,0),(4,3)], 1, ends="flush", simple_path=True, layer=8, datatype=0))  # L8_0
pch_6.add(gdstk.FlexPath([(2.5,3),(2.5,13)], 1, ends=(1, 1), simple_path=True, layer=5, datatype=0))  # L5_0
pch_6.add(gdstk.FlexPath([(1,1),(2.5,1),(2.5,2)], 1, ends="flush", simple_path=True, layer=5, datatype=0))  # L5_0
pch_6.add(gdstk.Reference(dcont, (1,4)))
pch_6.add(gdstk.Reference(dcont, (1,6)))
pch_6.add(gdstk.Reference(dcont, (1,8)))
pch_6.add(gdstk.Reference(dcont, (1,10)))
pch_6.add(gdstk.Reference(dcont, (1,12)))
pch_6.add(gdstk.Reference(dcont, (4,4)))
pch_6.add(gdstk.Reference(dcont, (4,6)))
pch_6.add(gdstk.Reference(dcont, (4,8)))
pch_6.add(gdstk.Reference(dcont, (4,10)))
pch_6.add(gdstk.Reference(dcont, (4,12)))
pch_6.add(gdstk.Reference(pcont, (1.3,1)))
pch_6.add(gdstk.Reference(via, (1.3,1)))
pch_6.add(gdstk.Reference(via, (1,15)))
pch_6.add(gdstk.Reference(via, (4.3,1)))
pch_6.add(gdstk.Reference(nsubcont, (4.5,15)))
pch_6.add(gdstk.Reference(via, (4.5,15)))

mos_tests = lib.new_cell('mos_tests')
mos_tests.add(gdstk.Reference(pch, (83.5,23)))
mos_tests.add(gdstk.Reference(nch_3, (82,0)))
mos_tests.add(gdstk.Reference(nch_4, (61.5,0)))
mos_tests.add(gdstk.Reference(nch_5, (40,0)))
mos_tests.add(gdstk.Reference(nch_6, (19.5,0)))
mos_tests.add(gdstk.Reference(nch_7, (1.5,0)))
mos_tests.add(gdstk.Reference(pch_3, (59,24)))
mos_tests.add(gdstk.Reference(pch_4, (38.5,23)))
mos_tests.add(gdstk.Reference(pch_5, (19,24)))
mos_tests.add(gdstk.Reference(pch_6, (2,23)))

lib.write_gds('mos_tests.gds')
